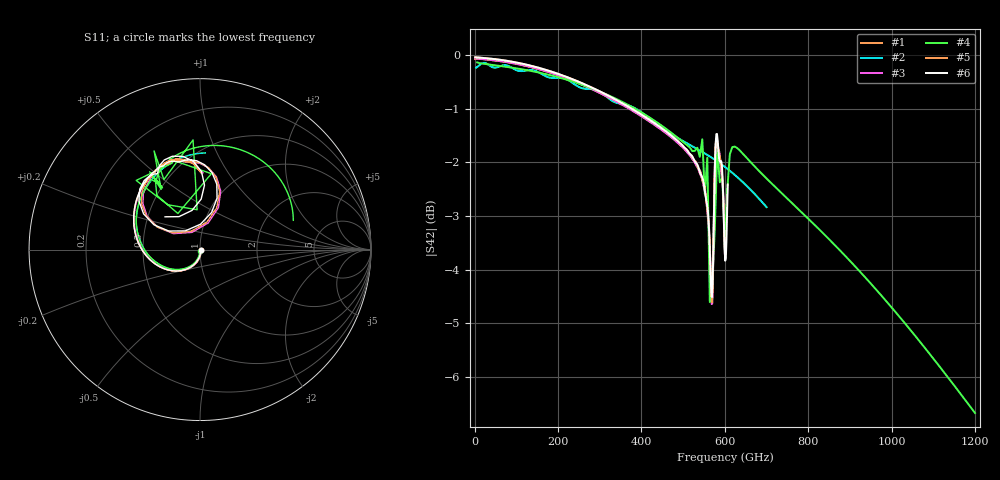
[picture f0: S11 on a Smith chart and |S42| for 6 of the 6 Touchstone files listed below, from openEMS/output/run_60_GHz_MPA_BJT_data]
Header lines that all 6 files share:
#  Hz  S  RI  R  50
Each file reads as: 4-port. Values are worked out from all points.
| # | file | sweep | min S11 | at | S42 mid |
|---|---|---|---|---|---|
| 1 | run_60_GHz_MPA_noBJT_fstop350GHz.s4p | 875 MHz to 350 GHz | -42.8 dB | 875 MHz | -0.3 dB at 175.9 GHz |
| 2 | run_60_GHz_MPA_noBJT_fstop350GHz_predicted.s4p | 3.5 GHz to 700 GHz | -45.6 dB | 3.5 GHz | -0.9 dB at 353.5 GHz |
| 3 | run_60_GHz_MPA_noBJT_fstop600GHz.s4p | 1.5 GHz to 600 GHz | -42.9 dB | 1.5 GHz | -0.7 dB at 301.5 GHz |
| 4 | run_60_GHz_MPA_noBJT_fstop600GHz_predicted.s4p | 6 GHz to 1.2 THz | -41.8 dB | 6 GHz | -2.5 dB at 606 GHz |
| 5 | run_60_GHz_MPA_noBJT_fstop600GHz_viamerging.s4p | 1.5 GHz to 600 GHz | -47.4 dB | 1.5 GHz | -0.7 dB at 301.5 GHz |
| 6 | run_60_GHz_MPA_noBJT_fstop607GHz_viamerging.s4p | 1.518 GHz to 607 GHz | -47.4 dB | 1.518 GHz | -0.7 dB at 305 GHz |
